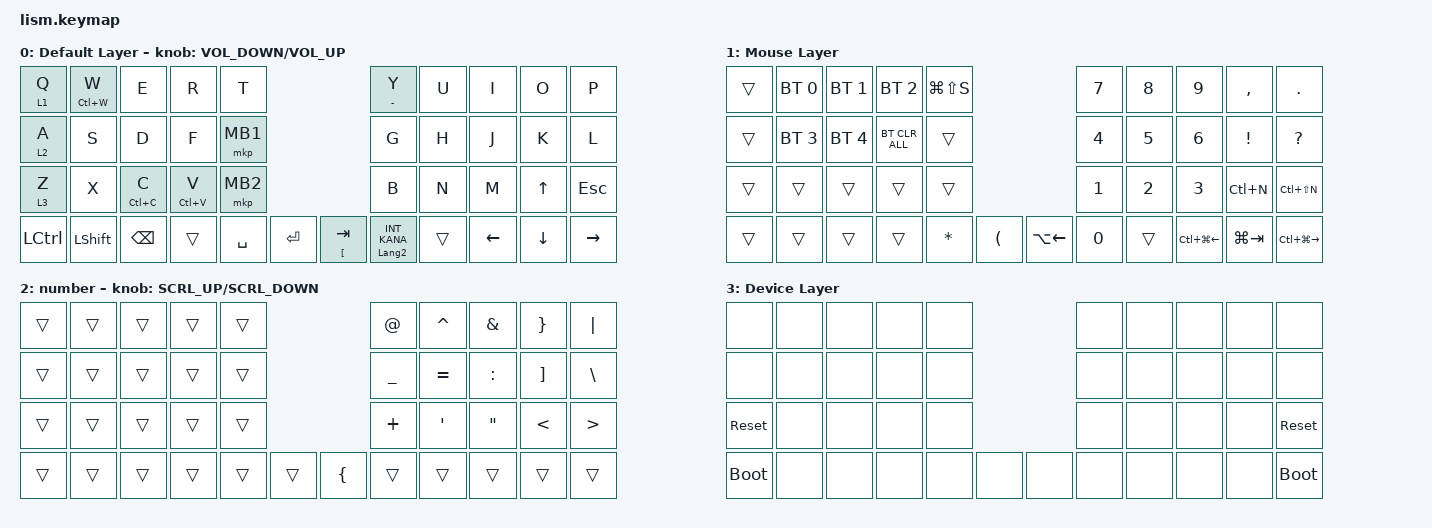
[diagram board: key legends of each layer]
#define ZMK_POINTING_DEFAULT_SCRL_VAL 200

#include <dt-bindings/zmk/mouse.h>
#include <behaviors.dtsi>
#include <dt-bindings/zmk/bt.h>
#include <dt-bindings/zmk/keys.h>
#include <dt-bindings/zmk/pointing.h>

&mt {
    tapping-term-ms = <250>;
    flavor = "balanced";
};

&lt { quick-tap-ms = <300>; };

/ {
    macros {
        emoji: emoji_macro {
            compatible = "zmk,behavior-macro";
            label = "EMOJI";
            #binding-cells = <0>;
            bindings =
                <&macro_press>,
                <&kp CAPSLOCK>,
                <&macro_tap>,
                <&kp E>,
                <&macro_release>,
                <&kp CAPSLOCK>;
        };

        ALT_ARROW_RIGHT: ALT_ARROW_RIGHT {
            compatible = "zmk,behavior-macro";
            #binding-cells = <0>;
            bindings = <&kp LALT &kp KP_N2 &kp KP_N6 &kp LEFT_ALT>;
            label = "ALT_ARROW_RIGHT";
        };

        ALT_ARROW_left: ALT_ARROW_left {
            compatible = "zmk,behavior-macro";
            #binding-cells = <0>;
            bindings = <&kp LALT &kp KP_N2 &kp KP_N7 &kp LEFT_ALT>;
            label = "ALT_ARROW_LEFT";
        };

        ALT_ARROW_up: ALT_ARROW_up {
            compatible = "zmk,behavior-macro";
            #binding-cells = <0>;
            bindings = <&kp LALT &kp KP_N2 &kp KP_N4 &kp LEFT_ALT>;
            label = "ALT_ARROW_UP";
        };

        ALT_ARROW_down: ALT_ARROW_down {
            compatible = "zmk,behavior-macro";
            #binding-cells = <0>;
            bindings = <&kp LALT &kp KP_N2 &kp KP_N5 &kp LEFT_ALT>;
            label = "ALT_ARROW_DOWN";
        };
    };

    behaviors {
        encoder_msc: sensor_rotate_msc {
            compatible = "zmk,behavior-sensor-rotate-var";
            #sensor-binding-cells = <2>;
            bindings = <&msc>, <&msc>;

            tap-ms = <20>;
        };

        encoder_kp: sensor_rotate_kp {
            compatible = "zmk,behavior-sensor-rotate-var";
            #sensor-binding-cells = <2>;
            bindings = <&kp>, <&kp>;
        };
    };

    keymap {
        compatible = "zmk,keymap";

        default_layer {
            display-name = "Default Layer";
            bindings = <
&lt 1 Q    &mt LC(W) W     &kp E          &kp R        &kp T                                         &mt MINUS Y              &kp U   &kp I           &kp O           &kp P
&lt 2 A    &kp S           &kp D          &kp F        &mkp MB1                                      &kp G                    &kp H   &kp J           &kp K           &kp L
&lt 3 Z    &kp X           &mt LC(C) C    &mt LC(V) V  &mkp MB2                                      &kp B                    &kp N   &kp M           &kp UP_ARROW    &kp ESCAPE
&kp LCTRL  &kp LEFT_SHIFT  &kp BACKSPACE  &trans       &kp SPACE  &kp ENTER    &mt LEFT_BRACKET TAB  &mt LANGUAGE_2 INT_KANA  &trans  &kp LEFT_ARROW  &kp DOWN_ARROW  &kp RIGHT_ARROW
            >;

            sensor-bindings = <&inc_dec_kp C_VOLUME_DOWN C_VOLUME_UP>;
        };

        scroll {
            display-name = "Mouse Layer";
            bindings = <
&trans  &bt BT_SEL 0  &bt BT_SEL 1  &bt BT_SEL 2    &kp LG(LS(S))                                              &kp N7  &kp N8  &kp N9                  &kp COMMA        &kp PERIOD
&trans  &bt BT_SEL 3  &bt BT_SEL 4  &bt BT_CLR_ALL  &trans                                                     &kp N4  &kp N5  &kp N6                  &kp EXCLAMATION  &kp QUESTION
&trans  &trans        &trans        &trans          &trans                                                     &kp N1  &kp N2  &kp N3                  &kp LC(N)        &kp LC(LS(N))
&trans  &trans        &trans        &trans          &kp ASTRK      &kp LEFT_PARENTHESIS    &kp LA(LEFT_ARROW)  &kp N0  &trans  &kp LC(LG(LEFT_ARROW))  &kp LG(TAB)      &kp LC(LG(RIGHT_ARROW))
            >;
        };

        number {
            bindings = <
&trans  &trans  &trans  &trans  &trans                            &kp AT     &kp CARET         &kp AMPERSAND      &kp RIGHT_BRACE    &kp PIPE
&trans  &trans  &trans  &trans  &trans                            &kp UNDER  &kp EQUAL         &kp COLON          &kp RIGHT_BRACKET  &kp BACKSLASH
&trans  &trans  &trans  &trans  &trans                            &kp PLUS   &kp SINGLE_QUOTE  &kp DOUBLE_QUOTES  &kp LESS_THAN      &kp GREATER_THAN
&trans  &trans  &trans  &trans  &trans  &trans    &kp LEFT_BRACE  &trans     &trans            &trans             &trans             &trans
            >;

            sensor-bindings = <&encoder_msc SCRL_UP SCRL_DOWN>;
        };

        layer_4 {
            display-name = "Device Layer";
            bindings = <
&none        &none  &none  &none  &none                  &none  &none  &none  &none  &none
&none        &none  &none  &none  &none                  &none  &none  &none  &none  &none
&sys_reset   &none  &none  &none  &none                  &none  &none  &none  &none  &sys_reset
&bootloader  &none  &none  &none  &none  &none    &none  &none  &none  &none  &none  &bootloader
            >;
        };
    };
};
